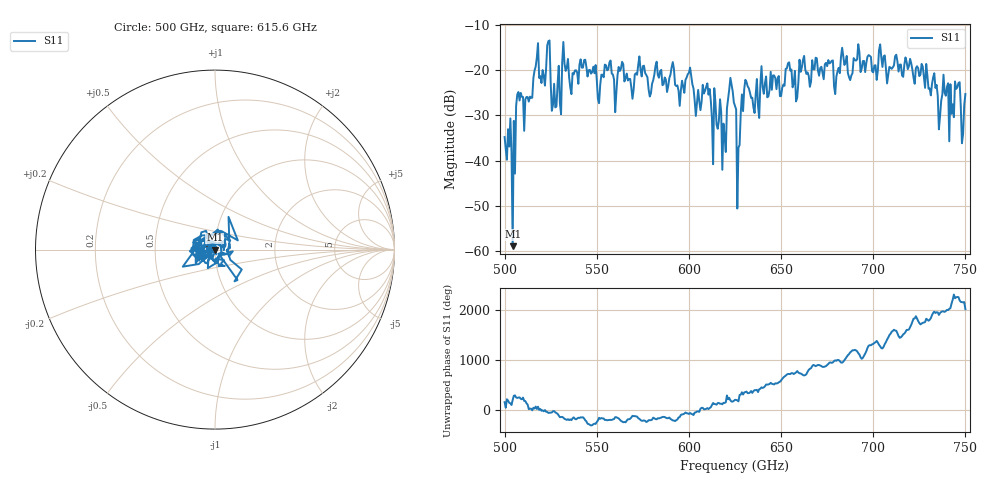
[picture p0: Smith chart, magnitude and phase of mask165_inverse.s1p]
!Created with skrf (http://scikit-rf.org).
# GHz S MA R 50.0
!freq magS11 angS11
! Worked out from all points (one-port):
!   401 points, 500 GHz to 750 GHz, reference 50 ohm
!   lowest |S11| = -58.8 dB at 504.4 GHz (marker M1), VSWR 1.00, Z = 49.9 - j0.0436 ohm
!   |S11| at or under -10 dB: start of sweep to end of sweep
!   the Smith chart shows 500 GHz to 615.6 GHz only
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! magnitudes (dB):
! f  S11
! 500 GHz  -34.8
! 504.4 GHz  -58.8
! 507.5 GHz  -24.9
! 511.9 GHz  -26.0
! 516.9 GHz  -19.2
! 520.6 GHz  -20.0
! 523.8 GHz  -13.7
! 526.9 GHz  -23.0
! 531.2 GHz  -18.4
! 562.5 GHz  -20.2
! 593.8 GHz  -23.4
! 610 GHz  -23.0
! 618.8 GHz  -31.8
! 623.1 GHz  -23.2
! 625 GHz  -27.9
! 627.5 GHz  -36.5
! 631.2 GHz  -22.7
! 636.9 GHz  -22.0
! 656.2 GHz  -23.8
! 684.4 GHz  -18.9
! 687.5 GHz  -22.3
! 691.2 GHz  -17.7
! 718.8 GHz  -19.8
! 736.2 GHz  -30.2
! 739.4 GHz  -25.7
! 742.5 GHz  -29.7
! 745.6 GHz  -23.8
! 750 GHz  -25.3
